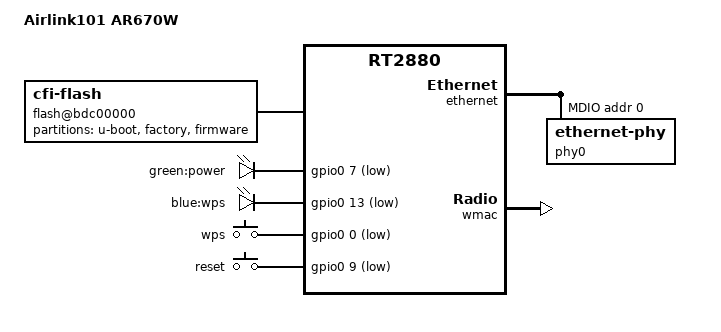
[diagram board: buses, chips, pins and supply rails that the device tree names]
#include "rt2880.dtsi"

#include <dt-bindings/gpio/gpio.h>
#include <dt-bindings/input/input.h>

/ {
	compatible = "airlink101,ar670w", "ralink,rt2880-soc";
	model = "Airlink101 AR670W";

	aliases {
		led-boot = &led_power;
		led-failsafe = &led_power;
		led-running = &led_power;
		led-upgrade = &led_power;
	};

	flash@bdc00000 {
		compatible = "cfi-flash";
		reg = <0xbc400000 0x800000>;
		bank-width = <2>;

		partitions {
			compatible = "fixed-partitions";
			#address-cells = <1>;
			#size-cells = <1>;

			partition@0 {
				reg = <0x0 0x30000>;
				label = "u-boot";
				read-only;
			};

			factory: partition@30000 {
				reg = <0x30000 0x10000>;
				label = "factory";
				read-only;
			};

			partition@40000 {
				compatible = "lzma";
				reg = <0x40000 0x3c0000>;
				label = "firmware";
			};
		};
	};

	leds {
		compatible = "gpio-leds";

		led_power: power {
			label = "green:power";
			gpios = <&gpio0 7 GPIO_ACTIVE_LOW>;
		};

		wpsblue {
			label = "blue:wps";
			gpios = <&gpio0 13 GPIO_ACTIVE_LOW>;
		};
	};

	keys {
		compatible = "gpio-keys-polled";
		poll-interval = <100>;

		wps {
			label = "wps";
			gpios = <&gpio0 0 GPIO_ACTIVE_LOW>;
			linux,code = <KEY_WPS_BUTTON>;
		};

		reset {
			label = "reset";
			gpios = <&gpio0 9 GPIO_ACTIVE_LOW>;
			linux,code = <KEY_RESTART>;
		};
	};
};

&state_default {
	gpio {
		groups = "i2c", "spi", "uartlite";
		function = "gpio";
	};
};

&ethernet {
	status = "okay";
	nvmem-cells = <&macaddr_factory_2004>;
	nvmem-cell-names = "mac-address";

	port@0 {
		phy-handle = <&phy0>;
		phy-mode = "mii";
	};

	mdio-bus {
		status = "okay";

		phy0: ethernet-phy@0 {
			phy-mode = "mii";
			reg = <0>;
		};
	};
};

&wmac {
	status = "okay";
	ralink,mtd-eeprom = <&factory 0x2000>;
};

&factory {
	compatible = "nvmem-cells";
	#address-cells = <1>;
	#size-cells = <1>;

	macaddr_factory_2004: macaddr@2004 {
		reg = <0x2004 0x6>;
	};
};
